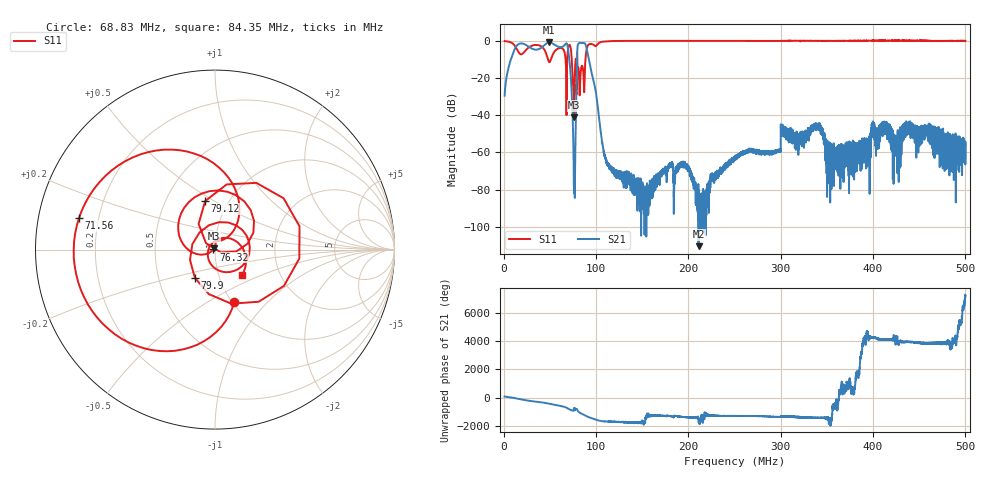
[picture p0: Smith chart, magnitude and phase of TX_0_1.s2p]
! NanoVNA-App
! Date: 2026-08-26 21:45:05
! Start: 1MHz Stop: 500MHz Points: 6401
! S-Parameter data: F S11 S21 S12 S22
# Hz S RI R 50
!  Frequency  S11_Real  S11_Imag  S21_Real  S21_Imag  S12_Real  S12_Imag  S22_Real  S22_Imag
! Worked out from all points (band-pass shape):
!   6401 points, 1 MHz to 500 MHz, reference 50 ohm
!   highest |S21| = -0.75 dB at 49.42 MHz (marker M1); lowest = -110.5 dB at 211 MHz (marker M2)
!   |S21| within 3 dB of the highest: 12.59 MHz to 29.17 MHz (16.58 MHz wide, 79.4 % of centre); 40.45 MHz to 69.57 MHz (29.11 MHz wide, 52.9 % of centre)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
!   lowest |S11| = -41.1 dB at 76.24 MHz (marker M3), VSWR 1.02, Z = 49.6 + j0.793 ohm
!   |S11| at or under -10 dB: 48 MHz to 51.09 MHz (3.085 MHz wide, 6.23 % of centre); 73.74 MHz to 77.99 MHz (4.254 MHz wide, 5.61 % of centre); 79.75 MHz to 88.53 MHz (8.784 MHz wide, 10.4 % of centre)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
!   S12 and S22 are empty: the file has one direction only
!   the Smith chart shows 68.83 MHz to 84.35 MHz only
!   S11 on the Smith chart (normalised r, x): 68.83 MHz: 1.02, -0.66; 71.56 MHz: 0.13, +0.11; 76.32 MHz: 0.98, +0.00; 79.12 MHz: 0.78, +0.46; 79.9 MHz: 0.76, -0.25; 84.35 MHz: 1.29, -0.38
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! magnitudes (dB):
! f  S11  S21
! 1 MHz  -0.1  -29.5
! 14.8 MHz  -4.9  -2.2
! 49.42 MHz  -11.4  -0.8
! 68.83 MHz  -10.2  -1.9
! 71.56 MHz  -2.2  -12.3
! 76.24 MHz  -41.1  -76.6
! 76.32 MHz  -40.8  -70.7
! 79.12 MHz  -11.2  -22.0
! 79.9 MHz  -14.3  -3.3
! 84.19 MHz  -14.0  -1.1
! 84.35 MHz  -13.7  -1.1
! 92.3 MHz  -1.8  -10.0
! 113 MHz  -0.1  -67.0
! 151.6 MHz  0.1  -81.9
! 167.4 MHz  0.1  -75.0
! 195.1 MHz  0.1  -66.6
! 211 MHz  0.1  -110.5
! 250.5 MHz  0.0  -62.3
! 333.7 MHz  0.1  -46.9
! 355.8 MHz  0.0  -60.5
! 416.9 MHz  0.2  -49.7
! 500 MHz  0.0  -54.6
